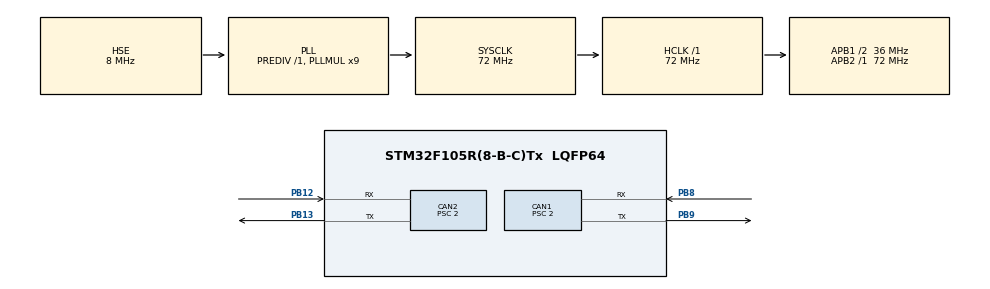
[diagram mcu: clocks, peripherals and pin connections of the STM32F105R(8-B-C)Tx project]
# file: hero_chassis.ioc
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CAN1.BS1=CAN_BS1_14TQ
CAN1.BS2=CAN_BS2_3TQ
CAN1.CalculateBaudRate=1000000
CAN1.CalculateTimeBit=1000
CAN1.CalculateTimeQuantum=55.55555555555556
CAN1.Prescaler=2
CAN2.BS1=CAN_BS1_14TQ
CAN2.BS2=CAN_BS2_3TQ
CAN2.CalculateBaudRate=1000000
CAN2.CalculateTimeBit=1000
CAN2.CalculateTimeQuantum=55.55555555555556
CAN2.Prescaler=2
Mcu.Family=STM32F1
Mcu.Name=STM32F105R(8-B-C)Tx
Mcu.Package=LQFP64
NVIC.CAN1_RX0_IRQn=true\:6\:0\:true\:false\:true\:true\:true\:true
NVIC.CAN2_RX0_IRQn=true\:6\:0\:true\:false\:true\:true\:true\:true
NVIC.PriorityGroup=NVIC_PRIORITYGROUP_4
NVIC.TIM2_IRQn=true\:5\:0\:true\:false\:true\:true\:true\:true
PA13.Mode=Serial_Wire
PA13.Signal=SYS_JTMS-SWDIO
PA14.Mode=Serial_Wire
PA14.Signal=SYS_JTCK-SWCLK
PB12.Mode=CAN_Activate
PB12.Signal=CAN2_RX
PB13.Mode=CAN_Activate
PB13.Signal=CAN2_TX
PB8.Mode=CAN_Activate
PB8.Signal=CAN1_RX
PB9.Mode=CAN_Activate
PB9.Signal=CAN1_TX
PD0-OSC_IN.Mode=HSE-External-Oscillator
PD0-OSC_IN.Signal=RCC_OSC_IN
PD1-OSC_OUT.Mode=HSE-External-Oscillator
PD1-OSC_OUT.Signal=RCC_OSC_OUT
ProjectManager.HeapSize=0x200
ProjectManager.StackSize=0x400
ProjectManager.TargetToolchain=MDK-ARM V5.32
RCC.AHBFreq_Value=72000000
RCC.APB1CLKDivider=RCC_HCLK_DIV2
RCC.APB1Freq_Value=36000000
RCC.APB1TimFreq_Value=72000000
RCC.APB2Freq_Value=72000000
RCC.APB2TimFreq_Value=72000000
RCC.HCLKFreq_Value=72000000
RCC.PLLMUL=RCC_PLL_MUL9
RCC.PLLSourceVirtual=RCC_PLLSOURCE_HSE
RCC.SYSCLKFreq_VALUE=72000000
RCC.SYSCLKSource=RCC_SYSCLKSOURCE_PLLCLK
RCC.USBFreq_Value=48000000
TIM2.AutoReloadPreload=TIM_AUTORELOAD_PRELOAD_ENABLE
TIM2.Period=1000
TIM2.Prescaler=36
VP_TIM2_VS_ClockSourceINT.Mode=Internal
board=custom

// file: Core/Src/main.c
/* USER CODE BEGIN Header */
/**
  ******************************************************************************
  * @file           : main.c
  * @brief          : Main program body
  ******************************************************************************
  * @attention
  *
  * Copyright (c) 2024 STMicroelectronics.
  * All rights reserved.
  *
  * This software is licensed under terms that can be found in the LICENSE file
  * in the root directory of this software component.
  * If no LICENSE file comes with this software, it is provided AS-IS.
  *
  ******************************************************************************
  */
/* USER CODE END Header */
#include "main.h"
#include "can.h"
#include "tim.h"
#include "gpio.h"

/* USER CODE BEGIN Includes */
#include "bsp_can.h"
#include "chassis_task.h"
#include "trigger_task.h"
#include "gimbal_task.h"
/* USER CODE END Includes */

void SystemClock_Config(void);

/* USER CODE BEGIN 0 */
void HAL_TIM_PeriodElapsedCallback(TIM_HandleTypeDef *htim)
{

	if (htim == &htim2)
    {
//		get_chassis_gimbal_angle();
		chassis_feedback_update(&chassis_move);
        trigger_feedback_update(&trigger_move);
		gimbal_feedback_update(&gimbal_move);
		trigger_control(&trigger_move);

	    gimbal_control(&gimbal_move);
		chassis_set_contorl(&chassis_move);
		chassis_follow(&chassis_move);
		chassis_control_loop(&chassis_move);

		CAN_cmd_yaw(gimbal_move.motor_yaw.give_current);
		CAN_cmd_chassis(chassis_move.motor_chassis[0].give_current, chassis_move.motor_chassis[1].give_current,
		chassis_move.motor_chassis[2].give_current, chassis_move.motor_chassis[3].give_current);
//		CAN_cmd_trigger(trigger_move.motor_trigger[0].give_current);

	}

}
/* USER CODE END 0 */

int main(void)
{

  /* MCU Configuration--------------------------------------------------------*/

  /* Reset of all peripherals, Initializes the Flash interface and the Systick. */
  HAL_Init();

  /* Configure the system clock */
  SystemClock_Config();

  /* Initialize all configured peripherals */
  MX_GPIO_Init();
  MX_CAN1_Init();
  MX_CAN2_Init();
  MX_TIM2_Init();
  /* USER CODE BEGIN 2 */
  Can_Filter_Init();
  chassis_init(&chassis_move);
  trigger_init(&trigger_move);
  gimbal_init(&gimbal_move);
  HAL_TIM_Base_Start_IT(&htim2);
  /* USER CODE END 2 */

  /* Infinite loop */
  while (1)
  {

  }
}

void SystemClock_Config(void)
{
  RCC_OscInitTypeDef RCC_OscInitStruct = {0};
  RCC_ClkInitTypeDef RCC_ClkInitStruct = {0};

  /** Initializes the RCC Oscillators according to the specified parameters
  * in the RCC_OscInitTypeDef structure.
  */
  RCC_OscInitStruct.OscillatorType = RCC_OSCILLATORTYPE_HSE;
  RCC_OscInitStruct.HSEState = RCC_HSE_ON;
  RCC_OscInitStruct.HSEPredivValue = RCC_HSE_PREDIV_DIV1;
  RCC_OscInitStruct.HSIState = RCC_HSI_ON;
  RCC_OscInitStruct.Prediv1Source = RCC_PREDIV1_SOURCE_HSE;
  RCC_OscInitStruct.PLL.PLLState = RCC_PLL_ON;
  RCC_OscInitStruct.PLL.PLLSource = RCC_PLLSOURCE_HSE;
  RCC_OscInitStruct.PLL.PLLMUL = RCC_PLL_MUL9;
  RCC_OscInitStruct.PLL2.PLL2State = RCC_PLL_NONE;
  if (HAL_RCC_OscConfig(&RCC_OscInitStruct) != HAL_OK)
  {
    Error_Handler();
  }

  /** Initializes the CPU, AHB and APB buses clocks
  */
  RCC_ClkInitStruct.ClockType = RCC_CLOCKTYPE_HCLK|RCC_CLOCKTYPE_SYSCLK
                              |RCC_CLOCKTYPE_PCLK1|RCC_CLOCKTYPE_PCLK2;
  RCC_ClkInitStruct.SYSCLKSource = RCC_SYSCLKSOURCE_PLLCLK;
  RCC_ClkInitStruct.AHBCLKDivider = RCC_SYSCLK_DIV1;
  RCC_ClkInitStruct.APB1CLKDivider = RCC_HCLK_DIV2;
  RCC_ClkInitStruct.APB2CLKDivider = RCC_HCLK_DIV1;

  if (HAL_RCC_ClockConfig(&RCC_ClkInitStruct, FLASH_LATENCY_2) != HAL_OK)
  {
    Error_Handler();
  }

  /** Configure the Systick interrupt time
  */
  __HAL_RCC_PLLI2S_ENABLE();
}

void Error_Handler(void)
{
  __disable_irq();
  while (1)
  {
  }
}
